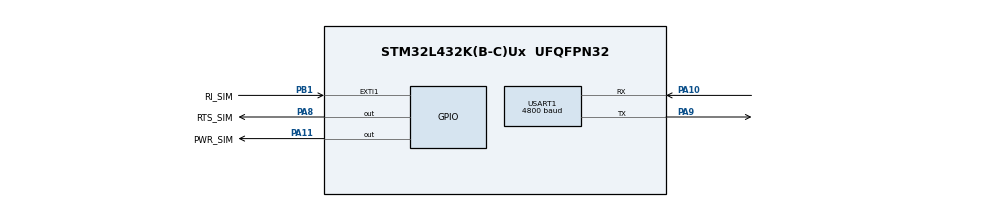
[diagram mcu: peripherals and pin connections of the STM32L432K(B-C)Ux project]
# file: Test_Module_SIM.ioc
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Mcu.Family=STM32L4
Mcu.Name=STM32L432K(B-C)Ux
Mcu.Package=UFQFPN32
NVIC.PriorityGroup=NVIC_PRIORITYGROUP_4
NVIC.USART1_IRQn=true\:0\:0\:false\:false\:true\:true\:true
PA10.Mode=Asynchronous
PA10.Signal=USART1_RX
PA11.GPIO_Label=PWR_SIM
PA11.Signal=GPIO_Output
PA13\ (JTMS-SWDIO).Mode=Serial_Wire
PA13\ (JTMS-SWDIO).Signal=SYS_JTMS-SWDIO
PA14\ (JTCK-SWCLK).Mode=Serial_Wire
PA14\ (JTCK-SWCLK).Signal=SYS_JTCK-SWCLK
PA8.GPIO_Label=RTS_SIM
PA8.Signal=GPIO_Output
PA9.Mode=Asynchronous
PA9.Signal=USART1_TX
PB1.GPIO_Label=RI_SIM
PB1.Signal=GPXTI1
ProjectManager.HeapSize=0x200
ProjectManager.StackSize=0x400
ProjectManager.TargetToolchain=STM32CubeIDE
RCC.HSE_VALUE=8000000
RCC.HSI48_VALUE=48000000
RCC.HSI_VALUE=16000000
RCC.LSE_VALUE=32768
RCC.MSI_VALUE=4000000
RCC.VCOOutputFreq_Value=32000000
USART1.BaudRate=4800
USART1.VirtualMode-Asynchronous=VM_ASYNC
board=custom

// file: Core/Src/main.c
/* USER CODE BEGIN Header */
/**
  ******************************************************************************
  * @file           : main.c
  * @brief          : Main program body
  ******************************************************************************
  * @attention
  *
  * <h2><center>&copy; Copyright (c) 2021 STMicroelectronics.
  * All rights reserved.</center></h2>
  *
  * This software component is licensed by ST under BSD 3-Clause license,
  * the "License"; You may not use this file except in compliance with the
  * License. You may obtain a copy of the License at:
  *                        opensource.org/licenses/BSD-3-Clause
  *
  ******************************************************************************
  */
/* USER CODE END Header */
//nhiennhien123123
#include "main.h"

UART_HandleTypeDef huart1;

void SystemClock_Config(void);
static void MX_GPIO_Init(void);
static void MX_USART1_UART_Init(void);

/* USER CODE BEGIN 0 */
char Rx_data_sim[10];
char Rx_buffer_sim[350];
uint16_t Rx_index_sim = 0;

void HAL_UART_RxCpltCallback(UART_HandleTypeDef *huart)
{
	if(huart -> Instance == USART1)
	  {
	    HAL_UART_Receive_IT(&huart1, (uint8_t *)Rx_data_sim, 1);
//	    Rx_buffer_sim[Rx_index_sim++] = Rx_data_sim[0];
//	    if (Rx_data_sim[0] == 'C') checkNewMes = 1;
//	    if (Rx_data_sim[0] == 'M' && checkNewMes == 1) checkNewMes = 2;
//	    if (Rx_data_sim[0] == 'T' && checkNewMes == 2) checkNewMes = 3;
//	    if (Rx_data_sim[0] == 'I' && checkNewMes == 3) checkNewMes = 4;
//	    if (checkNewMes == 4)
//	    {
//	      SaveMes[Mes_index++] = Rx_data_sim[0];
//	      if (Rx_data_sim[0] == '\r')
//	      {
//	        NewSms = 1;
//	        checkNewMes = 0;
//	      }
//	    }
	  }
}
/* USER CODE END 0 */

int main(void)
{

  /* MCU Configuration--------------------------------------------------------*/

  /* Reset of all peripherals, Initializes the Flash interface and the Systick. */
  HAL_Init();

  /* Configure the system clock */
  SystemClock_Config();

  /* Initialize all configured peripherals */
  MX_GPIO_Init();
  MX_USART1_UART_Init();
  /* USER CODE BEGIN 2 */
  HAL_UART_Receive_IT(&huart1, (uint8_t *)Rx_data_sim, 1);
  //Tat power saving
  HAL_GPIO_WritePin(RTS_SIM_GPIO_Port, RTS_SIM_Pin, RESET);
  //Bat module (set chan PWR)
  HAL_GPIO_WritePin(PWR_SIM_GPIO_Port, PWR_SIM_Pin, SET);
  //Cho khoi dong module
  HAL_Delay(4000);
  char ch = "AT\r\n";
  HAL_UART_Transmit(&huart1, (uint8_t *)ch, strlen(ch), 1000);
  /* USER CODE END 2 */

  /* Infinite loop */
  /* USER CODE BEGIN WHILE */
  while (1)
  {
	HAL_UART_Transmit(&huart1, "AT\r\n", strlen("AT\r\n"), 1000);
	HAL_UART_Transmit(&huart1, "ATE0\r\n", strlen("ATE0\r\n"), 1000);
	HAL_UART_Transmit(&huart1, "AT+CPIN?\r\n", strlen("AT+CPIN?\r\n"), 1000);
	HAL_UART_Transmit(&huart1, "AT+CMGF=1\r\n", strlen("AT\r\n"), 1000);
	HAL_UART_Transmit(&huart1, "AT+CNMI=1,1\r\n", strlen("AT\r\n"), 1000);
	HAL_UART_Transmit(&huart1, "AT&K0\r\n", strlen("AT\r\n"), 1000);
	HAL_UART_Transmit(&huart1, "AT+UPSV=2\r\n", strlen("AT\r\n"), 1000);
	HAL_UART_Transmit(&huart1, "AT+UREG?\r\n", strlen("AT\r\n"), 1000);
	HAL_UART_Transmit(&huart1, "AT&W\r\n", strlen("AT\r\n"), 1000);
    /* USER CODE END WHILE */

  }
}

void SystemClock_Config(void)
{
  RCC_OscInitTypeDef RCC_OscInitStruct = {0};
  RCC_ClkInitTypeDef RCC_ClkInitStruct = {0};
  RCC_PeriphCLKInitTypeDef PeriphClkInit = {0};

  /** Initializes the CPU, AHB and APB busses clocks
  */
  RCC_OscInitStruct.OscillatorType = RCC_OSCILLATORTYPE_MSI;
  RCC_OscInitStruct.MSIState = RCC_MSI_ON;
  RCC_OscInitStruct.MSICalibrationValue = 0;
  RCC_OscInitStruct.MSIClockRange = RCC_MSIRANGE_6;
  RCC_OscInitStruct.PLL.PLLState = RCC_PLL_NONE;
  if (HAL_RCC_OscConfig(&RCC_OscInitStruct) != HAL_OK)
  {
    Error_Handler();
  }
  /** Initializes the CPU, AHB and APB busses clocks
  */
  RCC_ClkInitStruct.ClockType = RCC_CLOCKTYPE_HCLK|RCC_CLOCKTYPE_SYSCLK
                              |RCC_CLOCKTYPE_PCLK1|RCC_CLOCKTYPE_PCLK2;
  RCC_ClkInitStruct.SYSCLKSource = RCC_SYSCLKSOURCE_MSI;
  RCC_ClkInitStruct.AHBCLKDivider = RCC_SYSCLK_DIV1;
  RCC_ClkInitStruct.APB1CLKDivider = RCC_HCLK_DIV1;
  RCC_ClkInitStruct.APB2CLKDivider = RCC_HCLK_DIV1;

  if (HAL_RCC_ClockConfig(&RCC_ClkInitStruct, FLASH_LATENCY_0) != HAL_OK)
  {
    Error_Handler();
  }
  PeriphClkInit.PeriphClockSelection = RCC_PERIPHCLK_USART1;
  PeriphClkInit.Usart1ClockSelection = RCC_USART1CLKSOURCE_PCLK2;
  if (HAL_RCCEx_PeriphCLKConfig(&PeriphClkInit) != HAL_OK)
  {
    Error_Handler();
  }
  /** Configure the main internal regulator output voltage
  */
  if (HAL_PWREx_ControlVoltageScaling(PWR_REGULATOR_VOLTAGE_SCALE1) != HAL_OK)
  {
    Error_Handler();
  }
}

static void MX_USART1_UART_Init(void)
{

  huart1.Instance = USART1;
  huart1.Init.BaudRate = 4800;
  huart1.Init.WordLength = UART_WORDLENGTH_8B;
  huart1.Init.StopBits = UART_STOPBITS_1;
  huart1.Init.Parity = UART_PARITY_NONE;
  huart1.Init.Mode = UART_MODE_TX_RX;
  huart1.Init.HwFlowCtl = UART_HWCONTROL_NONE;
  huart1.Init.OverSampling = UART_OVERSAMPLING_16;
  huart1.Init.OneBitSampling = UART_ONE_BIT_SAMPLE_DISABLE;
  huart1.AdvancedInit.AdvFeatureInit = UART_ADVFEATURE_NO_INIT;
  if (HAL_UART_Init(&huart1) != HAL_OK)
  {
    Error_Handler();
  }

}

static void MX_GPIO_Init(void)
{
  GPIO_InitTypeDef GPIO_InitStruct = {0};

  /* GPIO Ports Clock Enable */
  __HAL_RCC_GPIOB_CLK_ENABLE();
  __HAL_RCC_GPIOA_CLK_ENABLE();

  /*Configure GPIO pin Output Level */
  HAL_GPIO_WritePin(GPIOA, RTS_SIM_Pin|PWR_SIM_Pin, GPIO_PIN_RESET);

  /*Configure GPIO pin : RI_SIM_Pin */
  GPIO_InitStruct.Pin = RI_SIM_Pin;
  GPIO_InitStruct.Mode = GPIO_MODE_IT_RISING;
  GPIO_InitStruct.Pull = GPIO_NOPULL;
  HAL_GPIO_Init(RI_SIM_GPIO_Port, &GPIO_InitStruct);

  /*Configure GPIO pins : RTS_SIM_Pin PWR_SIM_Pin */
  GPIO_InitStruct.Pin = RTS_SIM_Pin|PWR_SIM_Pin;
  GPIO_InitStruct.Mode = GPIO_MODE_OUTPUT_PP;
  GPIO_InitStruct.Pull = GPIO_NOPULL;
  GPIO_InitStruct.Speed = GPIO_SPEED_FREQ_LOW;
  HAL_GPIO_Init(GPIOA, &GPIO_InitStruct);

}

void Error_Handler(void)
{
}

/************************ (C) COPYRIGHT STMicroelectronics *****END OF FILE****/
